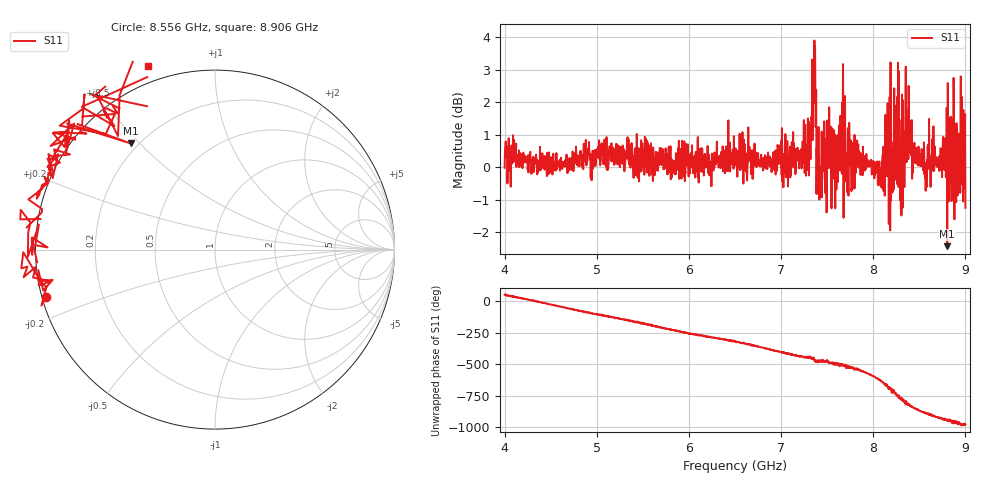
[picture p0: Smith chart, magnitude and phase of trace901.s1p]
! Created with skrf 1.8.0 (http://scikit-rf.org).
# Hz S RI R 50.0
!freq ReS11 ImS11
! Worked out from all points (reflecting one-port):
!   1601 points, 4 GHz to 9 GHz, reference 50 ohm
!   lowest |S11| = -2.4 dB at 8.803 GHz (marker M1), VSWR 7.21, Z = 8.51 + j23.5 ohm
!   phase of S11 starts at 53 deg and turns -1033 deg over the sweep
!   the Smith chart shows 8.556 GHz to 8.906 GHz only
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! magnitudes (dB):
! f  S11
! 4 GHz  0.0
! 4.625 GHz  -0.1
! 5.25 GHz  0.0
! 5.875 GHz  0.0
! 6.5 GHz  0.3
! 7.125 GHz  0.5
! 7.294 GHz  0.3
! 7.356 GHz  2.7
! 7.409 GHz  0.0
! 7.512 GHz  0.5
! 7.591 GHz  0.8
! 7.65 GHz  0.9
! 7.688 GHz  1.0
! 7.703 GHz  0.4
! 7.75 GHz  0.1
! 8.072 GHz  -0.2
! 8.156 GHz  2.0
! 8.209 GHz  -0.2
! 8.253 GHz  0.4
! 8.312 GHz  2.2
! 8.334 GHz  0.8
! 8.375 GHz  0.7
! 8.431 GHz  -0.2
! 8.556 GHz  -0.2
! 8.803 GHz  -2.4
! 8.919 GHz  -0.2
! 8.972 GHz  0.5
! 9 GHz  -1.2
